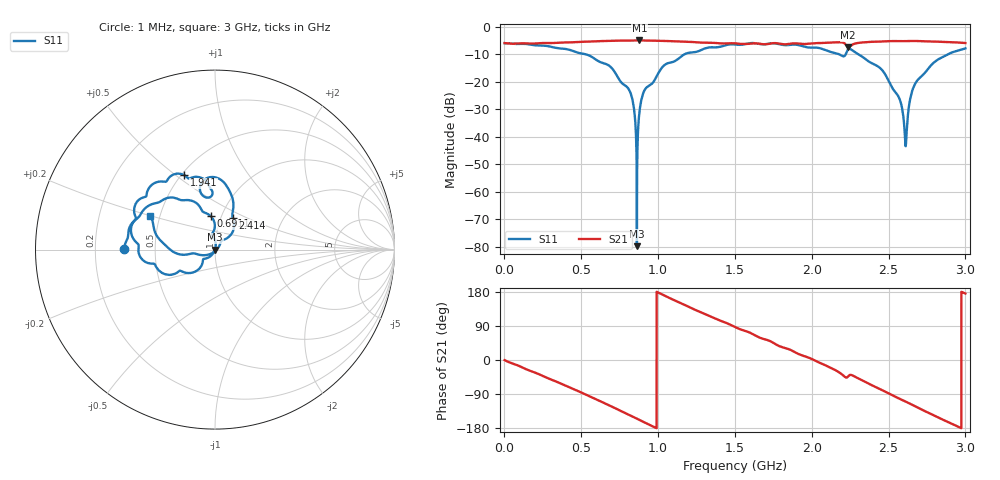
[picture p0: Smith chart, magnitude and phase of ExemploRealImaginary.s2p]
! COPPER MOUNTAIN TECHNOLOGIES, TR5048, 17097159, 18.1.2/2.0
! Date: 05/03/2018 15:09:10
! Data: Format [Calibration Info]
! Freq  S11: Re/Im OP  S21: Re/Im OP  S12: Re/Im  S22: Re/Im
# HZ S RI R 50
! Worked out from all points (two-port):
!   10000 points, 1 MHz to 3 GHz, reference 50 ohm
!   highest |S21| = -4.91 dB at 878.3 MHz (marker M1); lowest = -7.4 dB at 2.238 GHz (marker M2)
!   |S21| within 3 dB of the highest: start of sweep to end of sweep
!   lowest |S11| = -79.8 dB at 862.1 MHz (marker M3), VSWR 1.00, Z = 50 + j0.00126 ohm
!   |S11| at or under -10 dB: 532.4 MHz to 1.17 GHz (637.6 MHz wide, 74.9 % of centre); 2.18 GHz to 2.22 GHz (40.08 MHz wide, 1.82 % of centre); 2.306 GHz to 2.885 GHz (579.8 MHz wide, 22.3 % of centre)
!   S12 and S22 are empty: the file has one direction only
!   S11 on the Smith chart (normalised r, x): 1 MHz: 0.33, +0.00; 691.1 MHz: 0.89, +0.34; 1.941 GHz: 0.52, +0.54; 2.414 GHz: 1.13, +0.42; 3 GHz: 0.44, +0.20
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1000000  -0.5085 0.00218  0.5076 -0.00222  0 0  0 0
5.009833e8  -0.1821 0.2748  0.0377 -0.5351  0 0  0 0
6.911389e8  -0.0233 0.1858  -0.2931 -0.4754  0 0  0 0
8.19209e8  -0.00567 0.0646  -0.4725 -0.3125  0 0  0 0
8.375048e8  0.00299 0.0412  -0.4914 -0.2832  0 0  0 0
8.62099e8  0.000102 1.26e-05  -0.5142 -0.2413  0 0  0 0
8.782952e8  -0.0131 -0.0246  -0.5271 -0.2123  0 0  0 0
9.076884e8  -0.0465 -0.0483  -0.5448 -0.1568  0 0  0 0
1.000667e9  -0.0912 -0.1097  -0.56 0.0195  0 0  0 0
1.183324e9  -0.3056 -0.1225  -0.4319 0.3211  0 0  0 0
1.50065e9  -0.4529 0.1562  0.0246 0.5035  0 0  0 0
1.940647e9  -0.1704 0.414  0.4806 0.0992  0 0  0 0
2.000633e9  -0.1385 0.3974  0.5025 0.0227  0 0  0 0
2.237878e9  -0.052 0.3946  0.3126 -0.2878  0 0  0 0
2.413937e9  0.0981 0.1782  0.1753 -0.5099  0 0  0 0
2.500317e9  0.077 0.0709  0.0209 -0.5509  0 0  0 0
2.5729e9  0.0307 0.0368  -0.1199 -0.5394  0 0  0 0
2.611291e9  0.0048 -0.0048  -0.1876 -0.52  0 0  0 0
2.646682e9  -0.0497 -0.0305  -0.2505 -0.4956  0 0  0 0
2.684474e9  -0.1013 -0.0251  -0.3152 -0.4569  0 0  0 0
2.814343e9  -0.2482 -0.00127  -0.4679 -0.2712  0 0  0 0
3e9  -0.3613 0.1888  -0.5084 0.0405  0 0  0 0
